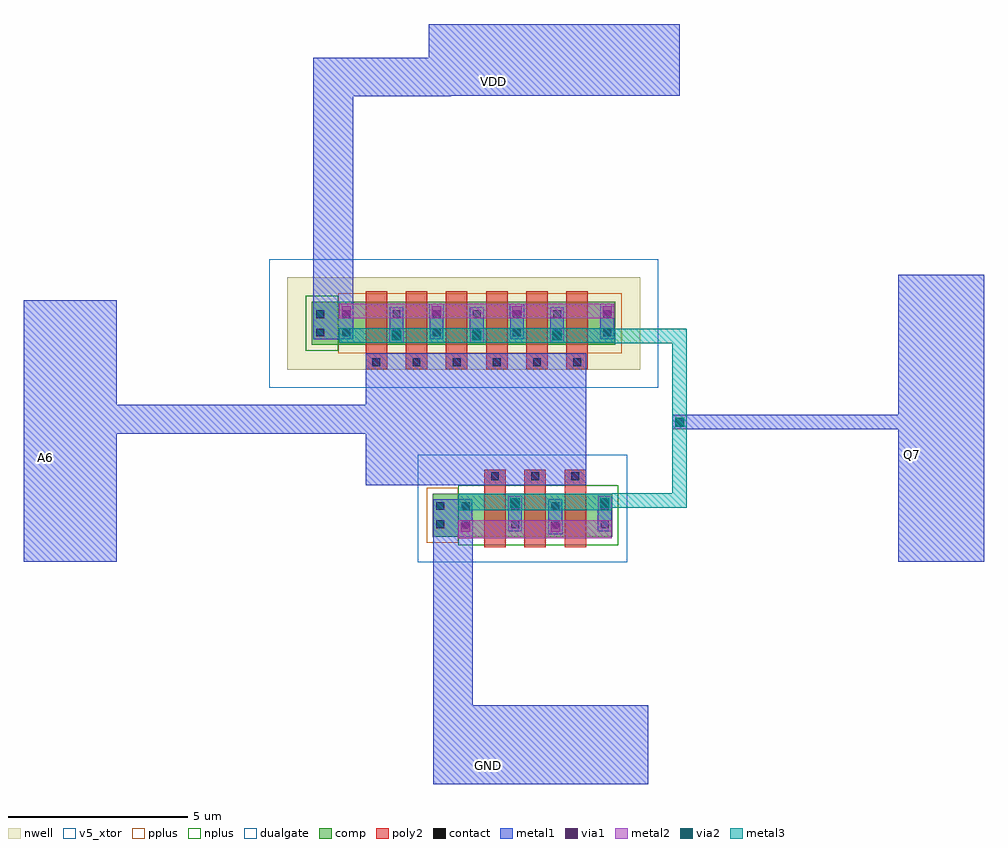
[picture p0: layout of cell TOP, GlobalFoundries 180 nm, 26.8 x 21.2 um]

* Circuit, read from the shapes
.subckt TOP A6 GND Q7 VDD
XM1 Q7 A6 GND GND nfet_05v0 w=1.2u l=0.6u m=3
XM2 Q7 A6 VDD VDD pfet_05v0 w=1.2u l=0.6u m=6
.ends

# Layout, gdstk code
import gdstk
lib = gdstk.Library(unit=1e-6, precision=1e-09)
def R(c, l, rs):  # rectangles x0, y0, x1, y1
    for r in rs: c.add(gdstk.rectangle(r[:2], r[2:], *l))
def A(c, l, x, y, w, h, nx, ny, dx, dy):  # array of equal rectangles
    R(c, l, [(x+i*dx, y+j*dy, x+i*dx+w, y+j*dy+h) for i in range(nx) for j in range(ny)])
nwell = (21, 0)
comp = (22, 0)
poly2 = (30, 0)
pplus = (31, 0)
nplus = (32, 0)
contact = (33, 0)
metal1 = (34, 0)
via1 = (35, 0)
metal2 = (36, 0)
via2 = (38, 0)
metal3 = (42, 0)
dualgate = (55, 0)
v5_xtor = (112, 1)

top = lib.new_cell('TOP')
R(top, nwell, [(-24.95,-18.385,-15.1,-15.805)])
R(top, comp, [(-20.89,-23.045,-20.18,-21.845), (-20.18,-23.045,-19.76,-21.845), (-19.76,-23.045,-16.3,-21.845), (-16.3,-23.045,-15.88,-21.845), (-24.26,-17.695,-23.53,-16.495), (-23.53,-17.695,-23.07,-16.495), (-23.07,-17.695,-16.25,-16.495), (-16.25,-17.695,-15.79,-16.495)])
A(top, poly2, -19.45, -23.345, 0.6, 1.8, 3, 1, 1.12, 0)
A(top, poly2, -19.45, -21.545, 0.6, 0.36, 3, 1, 1.12, 0)
A(top, poly2, -22.76, -18.375, 0.6, 0.38, 6, 1, 1.12, 0)
A(top, poly2, -22.76, -17.995, 0.6, 1.8, 6, 1, 1.12, 0)
R(top, pplus, [(-21.06,-23.215,-20.18,-21.675), (-23.53,-17.935,-15.62,-16.255)])
R(top, nplus, [(-20.18,-23.285,-15.71,-21.605), (-24.43,-17.865,-23.53,-16.325)])
A(top, contact, -19.26, -21.475, 0.22, 0.22, 3, 1, 1.12, 0)
A(top, contact, -22.57, -18.295, 0.22, 0.22, 6, 1, 1.12, 0)
A(top, contact, -22.01, -17.46, 0.22, 0.22, 5, 2, 1.12, 0.51)
R(top, contact, [(-20.79,-22.81,-20.57,-22.59), (-20.08,-22.81,-19.86,-22.59), (-18.7,-22.81,-18.48,-22.59), (-17.58,-22.81,-17.36,-22.59), (-16.2,-22.81,-15.98,-22.59), (-20.79,-22.3,-20.57,-22.08), (-20.08,-22.3,-19.86,-22.08), (-18.7,-22.3,-18.48,-22.08), (-17.58,-22.3,-17.36,-22.08), (-16.2,-22.3,-15.98,-22.08), (-24.14,-17.46,-23.92,-17.24), (-23.41,-17.46,-23.19,-17.24), (-16.13,-17.46,-15.91,-17.24), (-24.14,-16.95,-23.92,-16.73), (-23.41,-16.95,-23.19,-16.73), (-16.13,-16.95,-15.91,-16.73)])
A(top, metal1, -19.34, -21.556, 0.38, 0.382, 3, 1, 1.12, 0)
A(top, metal1, -22.65, -18.376, 0.38, 0.382, 6, 1, 1.12, 0)
A(top, metal1, -22.1, -17.635, 0.4, 0.4, 3, 1, 2.24, 0)
A(top, metal1, -22.09, -17.54, 0.38, 0.89, 5, 1, 1.12, 0)
R(top, metal1, [(-20.87,-29.945,-14.87,-27.745), (-20.87,-28.065,-19.77,-22.515), (-32.3,-23.745,-29.7,-16.445), (-7.9,-23.745,-5.5,-15.745), (-20.17,-22.985,-19.77,-22.585), (-17.66,-22.985,-17.26,-22.585), (-20.87,-22.895,-19.78,-21.995), (-20.87,-22.89,-20.49,-22), (-20.16,-22.89,-19.78,-22), (-18.78,-22.89,-18.4,-22), (-17.66,-22.89,-17.28,-22), (-16.28,-22.89,-15.9,-22), (-18.79,-22.305,-18.39,-21.905), (-16.29,-22.305,-15.89,-21.905), (-22.76,-21.605,-16.61,-17.935), (-14.2,-20.055,-13.8,-19.655), (-24.22,-17.54,-23.84,-16.65), (-23.49,-17.54,-23.11,-16.65), (-16.21,-17.54,-15.83,-16.65), (-24.22,-17.535,-23.11,-16.655), (-24.22,-17.015,-23.1,-10.385), (-23.5,-16.955,-23.1,-16.555), (-20.98,-16.955,-20.58,-16.555), (-18.74,-16.955,-18.34,-16.555), (-16.22,-16.955,-15.82,-16.555), (-24.22,-10.755,-20.38,-9.685), (-21,-10.745,-14,-8.745)])
A(top, via1, -22.03, -17.565, 0.26, 0.26, 3, 1, 2.24, 0)
R(top, via1, [(-20.1,-22.915,-19.84,-22.655), (-17.59,-22.915,-17.33,-22.655), (-18.72,-22.235,-18.46,-21.975), (-16.22,-22.235,-15.96,-21.975), (-14.13,-19.985,-13.87,-19.725), (-23.43,-16.885,-23.17,-16.625), (-20.91,-16.885,-20.65,-16.625), (-18.67,-16.885,-18.41,-16.625), (-16.15,-16.885,-15.89,-16.625)])
A(top, metal2, -22.1, -17.635, 0.4, 0.4, 3, 1, 2.24, 0)
R(top, metal2, [(-20.17,-23.085,-15.89,-22.585), (-20.17,-22.985,-19.77,-22.585), (-17.66,-22.985,-17.26,-22.585), (-18.79,-22.305,-18.39,-21.905), (-16.29,-22.305,-15.89,-21.905), (-14.2,-20.055,-13.8,-19.655), (-23.5,-16.955,-15.82,-16.555), (-23.5,-16.955,-23.1,-16.555), (-20.98,-16.955,-20.58,-16.555), (-18.74,-16.955,-18.34,-16.555), (-16.22,-16.955,-15.82,-16.555)])
A(top, via2, -22.03, -17.565, 0.26, 0.26, 3, 1, 2.24, 0)
R(top, via2, [(-18.72,-22.235,-18.46,-21.975), (-16.22,-22.235,-15.96,-21.975), (-14.13,-19.985,-13.87,-19.725)])
A(top, metal3, -22.1, -17.635, 0.4, 0.4, 3, 1, 2.24, 0)
R(top, metal3, [(-20.18,-22.305,-15.89,-21.845), (-18.79,-22.305,-18.39,-21.905), (-16.29,-22.305,-15.89,-21.905), (-15.97,-22.145,-15.66,-21.985), (-14.2,-20.055,-13.8,-19.655), (-23.49,-17.635,-15.82,-17.235), (-15.99,-17.555,-15.55,-17.345)])
R(top, dualgate, [(-21.31,-23.755,-15.46,-20.764), (-21.31,-23.755,-15.46,-20.755), (-25.45,-18.885,-14.6,-15.305)])
R(top, v5_xtor, [(-21.31,-23.755,-15.46,-20.764), (-21.31,-23.755,-15.46,-20.755), (-25.45,-18.885,-14.6,-15.305)])
top.add(gdstk.FlexPath([(-18.88,-19.77),(-30.52,-19.77)], 0.8, ends="flush", simple_path=True, layer=34, datatype=0))  # metal1
top.add(gdstk.FlexPath([(-14.2,-19.85),(-7.44,-19.85)], 0.4, ends="flush", simple_path=True, layer=34, datatype=0))  # metal1
top.add(gdstk.FlexPath([(-15.82,-17.45),(-14,-17.45),(-14,-22.04),(-15.89,-22.04)], 0.4, ends="flush", simple_path=True, layer=42, datatype=0))  # metal3
top.add(gdstk.Label('VDD', (-19.2,-10.34), layer=34, texttype=10))
top.add(gdstk.Label('GND', (-19.33,-29.44), layer=34, texttype=10))
top.add(gdstk.Label('A6', (-31.7,-20.84), layer=34, texttype=10))
top.add(gdstk.Label('Q7', (-7.5,-20.74), layer=34, texttype=10))

lib.write_gds('TOP.gds')
